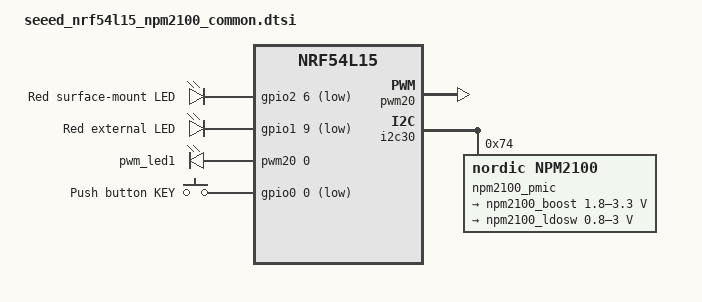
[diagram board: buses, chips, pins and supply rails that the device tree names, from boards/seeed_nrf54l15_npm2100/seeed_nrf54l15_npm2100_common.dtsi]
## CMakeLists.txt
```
cmake_minimum_required(VERSION 3.20.0)

find_package(Zephyr REQUIRED HINTS $ENV{ZEPHYR_BASE})
project(seeed_peripheral_bfg_ws)

zephyr_include_directories(src/common src/ble src/pmic) # (inc .)

# NORDIC SDK APP START
target_sources(app PRIVATE
	src/main.c
	src/ble/ble_periph_pmic.c
	src/pmic/pmic.c
)
```

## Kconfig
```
#
# Copyright (c) 2025 Nordic Semiconductor
#
# SPDX-License-Identifier: LicenseRef-Nordic-5-Clause
#

menu "Zephyr"
source "Kconfig.zephyr"
endmenu

menu "Sample configuration"

choice BATTERY_MODEL
	prompt "Initial battery model"
	default BATTERY_MODEL_ALKALINE_AA
	help
	  Select the initial battery model to use.
	  The battery model can be changed at runtime using shell commands.

config BATTERY_MODEL_ALKALINE_AA
	bool "Alkaline AA"
	help
	  Alkaline AA cylindrical battery.

config BATTERY_MODEL_ALKALINE_AAA
	bool "Alkaline AAA"
	help
	  Alkaline AAA cylindrical battery.

config BATTERY_MODEL_ALKALINE_2SAA
	bool "Alkaline 2SAA"
	help
	  Two Alkaline AA cylindrical batteries in series.

config BATTERY_MODEL_ALKALINE_2SAAA
	bool "Alkaline 2SAAA"
	help
	  Two Alkaline AAA cylindrical batteries in series.

config BATTERY_MODEL_ALKALINE_LR44
	bool "Alkaline LR44"
	help
	  Alkaline LR44 coin cell battery.

config BATTERY_MODEL_LITHIUM_CR2032
	bool "Lithium CR2032"
	help
	  Lithium-manganese dioxide CR2032 coin cell battery.

endchoice

config ACTIVE_CURRENT_UA
    int "Average current during active mode (µA)"
    default 700

endmenu
```

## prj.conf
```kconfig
# Copyright (c) 2026 Nordic Semiconductor ASA
# SPDX-License-Identifier: Apache-2.0
#
# This file contains selected Kconfig options for the application.

CONFIG_SPEED_OPTIMIZATIONS=y
#CONFIG_DEBUG_THREAD_INFO=y
#CONFIG_ASSERT=y
#CONFIG_REBOOT=y
#CONFIG_CRC=y

CONFIG_FPU=y

# Fuel gauge
CONFIG_NRF_FUEL_GAUGE=y
CONFIG_NRF_FUEL_GAUGE_VARIANT_PRIMARY_CELL=y

# Serial and logging
CONFIG_SERIAL=n
CONFIG_UART_CONSOLE=n
CONFIG_RTT_CONSOLE=n

CONFIG_LOG=n
# uncomment for logging and flip ^
# CONFIG_LOG_BACKEND_RTT=y
# CONFIG_USE_SEGGER_RTT=y
# CONFIG_LOG_BACKEND_UART=n
# CONFIG_REQUIRES_FLOAT_PRINTF=y
# CONFIG_SEGGER_RTT_BUFFER_SIZE_UP=2048
# CONFIG_LOG_BACKEND_RTT_BUFFER_SIZE=2048

CONFIG_SYSTEM_WORKQUEUE_STACK_SIZE=4096
CONFIG_HEAP_MEM_POOL_SIZE=4096

# Drivers
CONFIG_SENSOR=y
CONFIG_REGULATOR=y
CONFIG_LED=y
CONFIG_LED_PWM=y
CONFIG_PWM=y

# BT
CONFIG_BT=y
CONFIG_BT_PERIPHERAL=y
CONFIG_BT_DEVICE_NAME="Seeed nPM2100+nRF54L15"
CONFIG_BT_NSMS=y
CONFIG_BT_BAS=y

CONFIG_PM_DEVICE=y
CONFIG_PM_DEVICE_RUNTIME=y
```

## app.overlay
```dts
&npm2100_pmic {
    host-int-gpios = <&gpio1 6 (GPIO_ACTIVE_HIGH)>;
    host-int-type = "level";
    pmic-int-pin = <1>;
    pmic-int-flags = <GPIO_ACTIVE_HIGH>;
    shiphold-flags = <(GPIO_ACTIVE_LOW | GPIO_PULL_UP)>;
    shiphold-longpress = "ship";
    shiphold-current = "weak";
    shiphold-hibernate-wakeup;
};

&npm2100_boost {
    /* 2V results in optimal currents through the external LED */
    regulator-init-microvolt = <2000000>;
};
```

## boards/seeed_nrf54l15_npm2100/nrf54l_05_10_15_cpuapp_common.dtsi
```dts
/*
 * Copyright (c) 2024 Nordic Semiconductor ASA
 *
 * SPDX-License-Identifier: Apache-2.0
 */

/* This file is common to the secure and non-secure domain */

#include "seeed_nrf54l15_npm2100_common.dtsi"

/ {
	chosen {
		zephyr,console = &uart20;
		zephyr,shell-uart = &uart20;
		zephyr,uart-mcumgr = &uart20;
		zephyr,bt-mon-uart = &uart20;
		zephyr,bt-c2h-uart = &uart20;
		zephyr,flash-controller = &rram_controller;
		zephyr,flash = &cpuapp_rram;
		zephyr,ieee802154 = &ieee802154;
		zephyr,boot-mode = &boot_mode0;
	};

	aliases {
		mcuboot-button0 = &button0;
		mcuboot-led0 = &led0;
	};
};

&cpuapp_sram {
	status = "okay";
};

&lfxo {
	load-capacitors = "internal";
	load-capacitance-femtofarad = <17000>;
};

&hfxo {
	load-capacitors = "internal";
	load-capacitance-femtofarad = <15000>;
};

&regulators {
	status = "okay";
};

&vregmain {
	status = "okay";
	regulator-initial-mode = <NRF5X_REG_MODE_DCDC>;
};

&grtc {
	owned-channels = <0 1 2 3 4 5 6 7 8 9 10 11>;
	/* Channels 7-11 reserved for Zero Latency IRQs, 3-4 for FLPR */
	child-owned-channels = <3 4 7 8 9 10 11>;
	status = "okay";
};

&uart20 {
	status = "okay";
};

&nfct {
	status = "okay";
};

&gpio0 {
	status = "okay";
};

&gpio1 {
	status = "okay";
};

&gpio2 {
	status = "okay";
};

&gpiote20 {
	status = "okay";
};

&gpiote30 {
	status = "okay";
};

&radio {
	status = "okay";
};

&ieee802154 {
	status = "okay";
};

&temp {
	status = "okay";
};

&clock {
	status = "okay";
};

&gpregret1 {
	status = "okay";

	boot_mode0: boot_mode@0 {
		compatible = "zephyr,retention";
		status = "okay";
		reg = <0x0 0x1>;
	};
};

&spi00 {
	status = "okay";
	cs-gpios = <&gpio2 5 GPIO_ACTIVE_LOW>;
	pinctrl-0 = <&spi00_default>;
	pinctrl-1 = <&spi00_sleep>;
	pinctrl-names = "default", "sleep";

	mx25r64: mx25r6435f@0 {
		compatible = "jedec,spi-nor";
		status = "okay";
		reg = <0>;
		spi-max-frequency = <8000000>;
		jedec-id = [c2 28 17];
		sfdp-bfp = [
			e5 20 f1 ff  ff ff ff 03  44 eb 08 6b  08 3b 04 bb
			ee ff ff ff  ff ff 00 ff  ff ff 00 ff  0c 20 0f 52
			10 d8 00 ff  23 72 f5 00  82 ed 04 cc  44 83 48 44
			30 b0 30 b0  f7 c4 d5 5c  00 be 29 ff  f0 d0 ff ff
		];
		size = <67108864>;
		has-dpd;
		t-enter-dpd = <10000>;
		t-exit-dpd = <35000>;
	};
};

&adc {
	status = "okay";
};
```

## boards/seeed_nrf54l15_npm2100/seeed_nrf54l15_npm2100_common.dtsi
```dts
/*
 * Copyright (c) 2024 Nordic Semiconductor ASA
 *
 * SPDX-License-Identifier: Apache-2.0
 */

#include "seeed_nrf54l15_npm2100_nrf54l_05_10_15-pinctrl.dtsi"

/ {
	leds {
		compatible = "gpio-leds";

		led0: led_0 {
			gpios = <&gpio2 6 (GPIO_ACTIVE_LOW | GPIO_PULL_UP)>;
			label = "Red surface-mount LED";
		};

		led1: led_1 {
			gpios = <&gpio1 9 (GPIO_ACTIVE_LOW | GPIO_PULL_UP | NRF_DRIVE_E0E1)>;
			label = "Red external LED";
		};
	};

	pwmleds {
		compatible = "pwm-leds";

		pwm_led1: pwm_led_1 {
			pwms = <&pwm20 0 PWM_MSEC(20) PWM_POLARITY_INVERTED>;
		};
	};

	buttons {
		compatible = "gpio-keys";

		button0: button_0 {
			gpios = <&gpio0 0 (GPIO_PULL_UP | GPIO_ACTIVE_LOW)>;
			label = "Push button KEY";
			zephyr,code = <INPUT_KEY_0>;
		};
	};

	aliases {
		led0 = &led0;
		pwm-led0 = &pwm_led1;
		sw0 = &button0;
		watchdog0 = &wdt31;
	};
};

&pwm20 {
	status = "okay";
	pinctrl-0 = <&pwm20_default>;
	pinctrl-1 = <&pwm20_sleep>;
	pinctrl-names = "default", "sleep";
};

&i2c30 {
	status = "okay";
	pinctrl-0 = <&i2c30_default>;
	pinctrl-1 = <&i2c30_sleep>;
	pinctrl-names = "default", "sleep";

	npm2100_pmic: pmic@74 {
		compatible = "nordic,npm2100";
		reg = <0x74>;

		npm2100_gpio: gpio-controller {
			compatible = "nordic,npm2100-gpio";
			gpio-controller;
			#gpio-cells = <2>;
			ngpios = <2>;
		};

		npm2100_regulators: regulators {
			compatible = "nordic,npm2100-regulator";

			npm2100_boost: BOOST {
				regulator-min-microvolt = <1800000>;
				regulator-max-microvolt = <3300000>;
				/* boost is always on by design */
				regulator-always-on;
			};

			npm2100_ldosw: LDOSW {
				regulator-min-microvolt = <800000>;
				regulator-max-microvolt = <3000000>;
			};
		};

		npm2100_wdt: watchdog {
			compatible = "nordic,npm2100-wdt";
		};

		npm2100_vbat: vbat {
			compatible = "nordic,npm2100-vbat";
		};
	};
};

/* DISABLED NODES */

&uart20 {
	status = "disabled";
	current-speed = <115200>;
	pinctrl-0 = <&uart20_default>;
	pinctrl-1 = <&uart20_sleep>;
	pinctrl-names = "default", "sleep";
};

&uart30 {
	status = "disabled";
	current-speed = <115200>;
	pinctrl-0 = <&uart30_default>;
	pinctrl-1 = <&uart30_sleep>;
	pinctrl-names = "default", "sleep";
};

&hfxo {
	status = "disabled";
	startup-time-us = <854>;
};
```

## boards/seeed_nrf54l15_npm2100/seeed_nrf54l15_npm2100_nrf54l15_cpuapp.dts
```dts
/*
 * Copyright (c) 2024 Nordic Semiconductor ASA
 *
 * SPDX-License-Identifier: Apache-2.0
 */

/dts-v1/;

#include <nordic/nrf54l15_cpuapp.dtsi>
#include "nrf54l_05_10_15_cpuapp_common.dtsi"

/ {
	compatible = "nordic,seeed_nrf54l15_npm2100_nrf54l15-cpuapp";
	model = "Seeed nRF54L15 & nPM2100 Reference Design nRF54L15 Application MCU";

	chosen {
		zephyr,code-partition = &slot0_partition;
		zephyr,sram = &cpuapp_sram;
	};
};

/* Include default memory partition configuration file */
#include <nordic/nrf54l15_partition.dtsi>
```

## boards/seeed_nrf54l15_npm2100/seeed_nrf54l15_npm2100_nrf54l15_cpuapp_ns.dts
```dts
/*
 * Copyright (c) 2025 Nordic Semiconductor ASA
 *
 * SPDX-License-Identifier: Apache-2.0
 */

/dts-v1/;

#define USE_NON_SECURE_ADDRESS_MAP 1

#include <nordic/nrf54l15_cpuapp.dtsi>
#include "nrf54l_05_10_15_cpuapp_common.dtsi"

/ {
	compatible = "nordic,seeed_nrf54l15_npm2100_nrf54l15-cpuapp";
	model = "Seeed nRF54L15 & nPM2100 Reference Design nRF54L15 Application MCU";

	chosen {
		zephyr,code-partition = &slot0_ns_partition;
		zephyr,sram = &sram0_ns;
		zephyr,entropy = &psa_rng;
	};

	/delete-node/ rng;

	psa_rng: psa-rng {
		status = "okay";
	};
};

/ {
	/*
	 * Default SRAM planning when building for nRF54L15 with ARM TrustZone-M support
	 * - Lowest 80 kB SRAM allocated to Secure image (sram0_s).
	 * - Upper 80 kB SRAM allocated to Non-Secure image (sram0_ns).
	 *
	 * nRF54L15 has 256 kB of volatile memory (SRAM) but the last 96kB are reserved for
	 * the FLPR MCU.
	 * This static layout needs to be the same with the upstream TF-M layout in the
	 * header flash_layout.h of the relevant platform. Any updates in the layout
	 * needs to happen both in the flash_layout.h and in this file at the same time.
	 */
	reserved-memory {
		#address-cells = <1>;
		#size-cells = <1>;
		ranges;

		sram0_s: image_s@20000000 {
			/* Secure image memory */
			reg = <0x20000000 DT_SIZE_K(80)>;
		};

		sram0_ns: image_ns@20014000 {
			/* Non-Secure image memory */
			reg = <0x20014000 DT_SIZE_K(80)>;
		};
	};
};

&uart30 {
	/* Disable so that TF-M can use this UART */
	status = "disabled";

	current-speed = <115200>;
	pinctrl-0 = <&uart30_default>;
	pinctrl-1 = <&uart30_sleep>;
	pinctrl-names = "default", "sleep";
};

/* Include default memory partition configuration file */
#include <nordic/nrf54l15_ns_partition.dtsi>
```

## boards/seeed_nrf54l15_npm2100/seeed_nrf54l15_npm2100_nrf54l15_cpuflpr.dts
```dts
/*
 * Copyright (c) 2024 Nordic Semiconductor ASA
 *
 * SPDX-License-Identifier: Apache-2.0
 */

/dts-v1/;
#include <nordic/nrf54l15_cpuflpr.dtsi>
#include "seeed_nrf54l15_npm2100_common.dtsi"

/ {
	model = "Seeed nRF54L15 & nPM2100 Reference Design nRF54L15 FLPR MCU";
	compatible = "nordic,seeed_nrf54l15_npm2100_nrf54l15-cpuflpr";

	chosen {
		zephyr,console = &uart30;
		zephyr,shell-uart = &uart30;
		zephyr,code-partition = &cpuflpr_code_partition;
		zephyr,flash = &cpuflpr_rram;
		zephyr,sram = &cpuflpr_sram;
	};
};

&cpuflpr_sram {
	status = "okay";
	/* size must be increased due to booting from SRAM */
	reg = <0x20028000 DT_SIZE_K(96)>;
	ranges = <0x0 0x20028000 0x18000>;
};

&cpuflpr_rram {
	partitions {
		compatible = "fixed-partitions";
		#address-cells = <1>;
		#size-cells = <1>;

		cpuflpr_code_partition: partition@0 {
			label = "image-0";
			reg = <0x0 DT_SIZE_K(96)>;
		};
	};
};

&grtc {
	owned-channels = <3 4>;
	status = "okay";
};

&uart30 {
	status = "okay";
};

&gpio0 {
	status = "okay";
};

&gpio1 {
	status = "okay";
};

&gpio2 {
	status = "okay";
};

&gpiote20 {
	status = "okay";
};

&gpiote30 {
	status = "okay";
};
```

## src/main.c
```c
/*
 * npm2100_nrf54l15_BFG
 * main.c
 * Bluetooth fuel gauge demo application main file
 * auth: ddhd
 * SPDX-License-Identifier: LicenseRef-Nordic-5-Clause
 */

#include <dk_buttons_and_leds.h>
#include <zephyr/device.h>
#include <zephyr/devicetree.h>
#include <zephyr/drivers/gpio.h>
#include <zephyr/kernel.h>

#include <zephyr/logging/log.h>

#include "threads.h"
#include "tsync.h"

LOG_MODULE_REGISTER(main, LOG_LEVEL_INF);

K_SEM_DEFINE(sem_gpio_ready, 0, 1);

int main(void)
{
    int err;

    k_sem_take(&sem_pmic_ready, K_FOREVER);
    k_sem_give(&sem_gpio_ready);
    k_sem_take(&sem_ble_ready, K_FOREVER);

    for (;;)
    {
        k_sleep(K_MSEC(2000));
    }
    return err;
}
```
